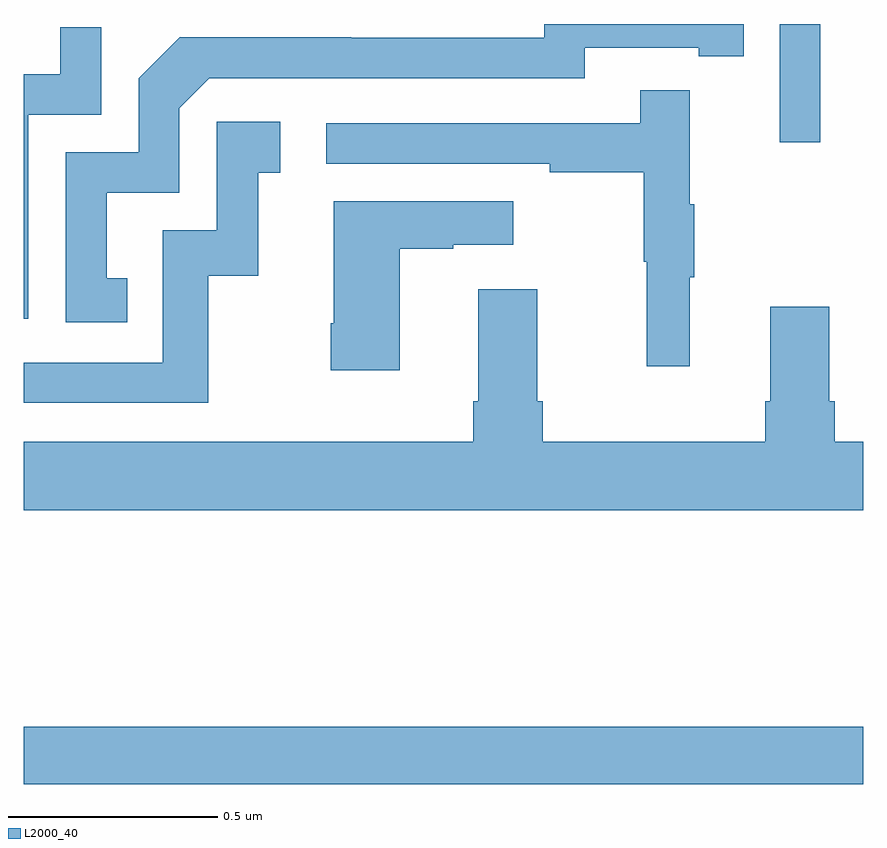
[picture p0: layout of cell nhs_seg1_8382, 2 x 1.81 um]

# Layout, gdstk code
import gdstk
lib = gdstk.Library(unit=1e-6, precision=1e-09)
def R(c, l, rs):  # rectangles x0, y0, x1, y1
    for r in rs: c.add(gdstk.rectangle(r[:2], r[2:], *l))
def P(c, l, *ps):  # polygons
    for p in ps: c.add(gdstk.Polygon(p, *l))
L2000_40 = (2000, 40)

nhs_seg1_8382 = lib.new_cell('nhs_seg1_8382')
R(nhs_seg1_8382, L2000_40, [(215,576.388,217,576.524), (216.801,577.917,216.898,578.199)])
P(nhs_seg1_8382, L2000_40, [(215.246,577.593),(215.197,577.593),(215.197,577.797),(215.37,577.797),(215.37,577.998),(215.442,578.07),(216.336,578.07),(216.336,578.142),(216.608,578.142),(216.608,578.122),(216.716,578.122),(216.716,578.199),(216.24,578.199),(216.24,578.166),(215.78,578.166),(215.78,578.168),(215.372,578.168),(215.274,578.07),(215.274,577.893),(215.1,577.893),(215.1,577.488),(215.246,577.488)],
  [(215.01,577.983),(215.184,577.983),(215.184,578.191),(215.087,578.191),(215.087,578.079),(215,578.079),(215,577.497),(215.01,577.497)],
  [(216.587,577.595),(216.598,577.595),(216.598,577.769),(216.587,577.769),(216.587,578.041),(216.469,578.041),(216.469,577.962),(215.721,577.962),(215.721,577.866),(216.253,577.866),(216.253,577.846),(216.477,577.846),(216.477,577.632),(216.484,577.632),(216.484,577.383),(216.587,577.383)],
  [(215.44,577.599),(215.558,577.599),(215.558,577.845),(215.611,577.845),(215.611,577.966),(215.46,577.966),(215.46,577.707),(215.331,577.707),(215.331,577.392),(215,577.392),(215,577.296),(215.44,577.296)],
  [(215.896,577.663),(216.023,577.663),(216.023,577.673),(216.166,577.673),(216.166,577.777),(215.738,577.777),(215.738,577.486),(215.731,577.486),(215.731,577.374),(215.896,577.374)],
  [(217,577.204),(216.932,577.204),(216.932,577.3),(216.919,577.3),(216.919,577.525),(216.779,577.525),(216.779,577.3),(216.767,577.3),(216.767,577.204),(216.236,577.204),(216.236,577.3),(216.223,577.3),(216.223,577.567),(216.083,577.567),(216.083,577.3),(216.071,577.3),(216.071,577.204),(215,577.204),(215,577.04),(217,577.04)])

lib.write_gds('nhs_seg1_8382.gds')
